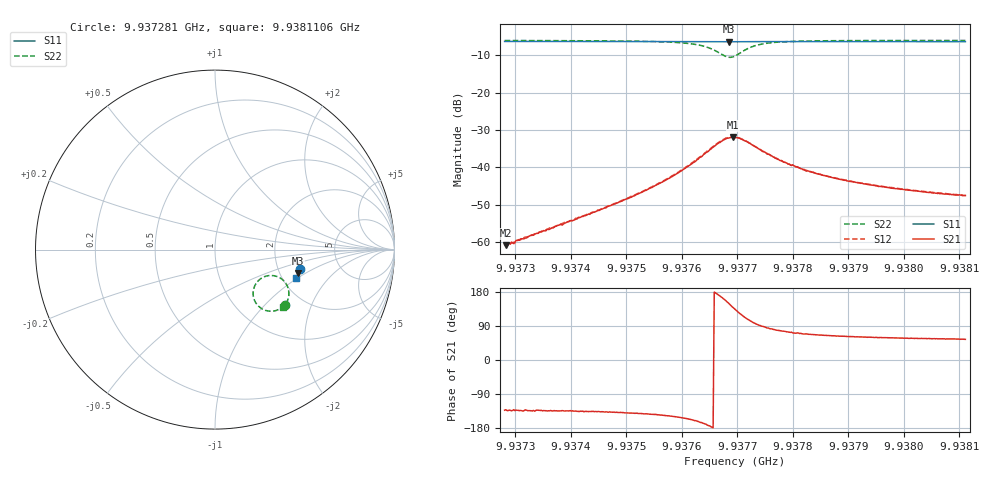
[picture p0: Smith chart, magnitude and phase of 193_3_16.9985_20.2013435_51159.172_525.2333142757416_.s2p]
#  HZ  S  RI  R  50.00
! Rohde & Schwarz Vector Network Analyzer
! Rohde-Schwarz,ZNB20-2Port,1311601062101988,3.16
! Created: UTC 3/20/2024, 11:00:45 PM
! freq[Hz]  re:S11  im:S11  re:S21  im:S21  re:S12  im:S12  re:S22  im:S22
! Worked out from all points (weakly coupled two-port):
!   401 points, 9.937281 GHz to 9.9381106 GHz, reference 50 ohm
!   highest |S21| = -31.94 dB at 9.9376917 GHz (marker M1); lowest = -60.9 dB at 9.9372831 GHz (marker M2)
!   lowest |S11| = -6.4 dB at 9.9376854 GHz (marker M3), VSWR 2.84, Z = 125 - j42.5 ohm
!   |S11| at or under -10 dB: nowhere
!   |S22| runs from -10.6 to -6.0 dB; largest |S21 - S12| = 0.0012
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9.93728099e9  0.472 -0.1053  -0.000623 -0.000681  -0.000602 -0.000645  0.3898 -0.3093
9.93728306e9  0.4719 -0.1055  -0.000594 -0.000679  -0.000635 -0.00068  0.3897 -0.3093
9.9372955e9  0.4716 -0.1063  -0.000671 -0.000716  -0.00067 -0.000707  0.3886 -0.3106
9.93730588e9  0.4715 -0.1069  -0.000724 -0.000773  -0.000762 -0.000764  0.3878 -0.3112
9.93731832e9  0.4713 -0.1078  -0.000752 -0.000846  -0.000818 -0.000832  0.3866 -0.3125
9.93741995e9  0.469 -0.1147  -0.00156 -0.00154  -0.00159 -0.00153  0.3747 -0.3222
9.93750706e9  0.4671 -0.1206  -0.00304 -0.00254  -0.00312 -0.00252  0.3577 -0.3327
9.93755892e9  0.4659 -0.1242  -0.00494 -0.0035  -0.00511 -0.00347  0.3387 -0.3399
9.9376004e9  0.4644 -0.127  -0.00808 -0.00421  -0.00831 -0.00412  0.3103 -0.3435
9.93764188e9  0.4627 -0.1298  -0.015 -0.00294  -0.0155 -0.0027  0.2546 -0.3252
9.93766884e9  0.4612 -0.1309  -0.0211 0.00419  -0.0217 0.00495  0.2133 -0.2586
9.93768544e9  0.4607 -0.1308  -0.021 0.0131  -0.0209 0.0142  0.2294 -0.1879
9.93769166e9  0.4607 -0.1309  -0.0192 0.0165  -0.0188 0.0173  0.2497 -0.166
9.93769581e9  0.4608 -0.131  -0.0174 0.018  -0.0169 0.0191  0.2663 -0.1553
9.93770618e9  0.4611 -0.1311  -0.0123 0.0206  -0.0117 0.0214  0.3111 -0.1442
9.9377207e9  0.4616 -0.132  -0.00562 0.0204  -0.00514 0.0207  0.3614 -0.1573
9.93774351e9  0.462 -0.1338  0.000229 0.0167  0.000475 0.0169  0.3995 -0.1961
9.93779329e9  0.4612 -0.1376  0.00316 0.0106  0.00343 0.0105  0.4118 -0.2519
9.93783477e9  0.4602 -0.1406  0.00333 0.00793  0.00351 0.00792  0.4074 -0.2743
9.93790114e9  0.4586 -0.1452  0.00308 0.00575  0.0032 0.00574  0.3992 -0.2942
9.93797374e9  0.4568 -0.1501  0.00282 0.00456  0.0029 0.00458  0.3917 -0.3071
9.93811063e9  0.4533 -0.1589  0.00244 0.00342  0.00248 0.00341  0.3803 -0.3217
